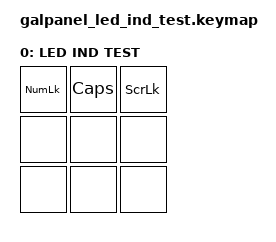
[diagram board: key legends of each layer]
/* GALPANEL independent LED indicator test keymap. */

#include <behaviors.dtsi>
#include <dt-bindings/zmk/keys.h>

/ {
    keymap {
        compatible = "zmk,keymap";

        led_ind_test_layer {
            display-name = "LED IND TEST";
            bindings = <
                &kp KP_NUMLOCK &kp CAPSLOCK &kp SCROLLLOCK
                &none &none &none
                &none &none &none
            >;
        };
    };
};
